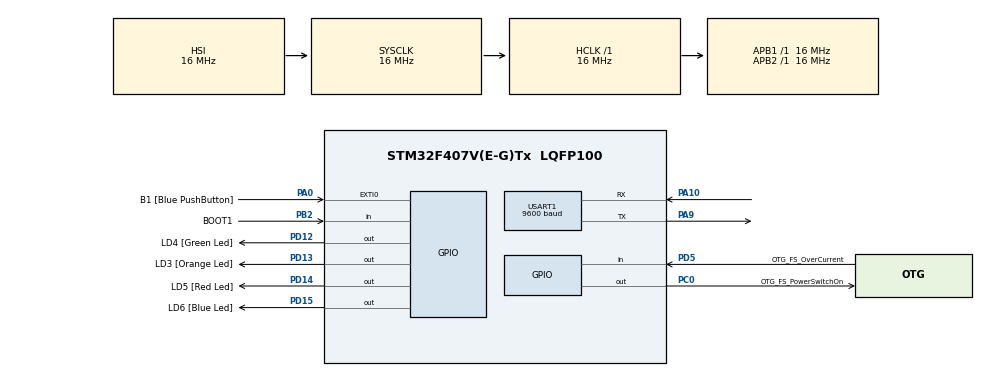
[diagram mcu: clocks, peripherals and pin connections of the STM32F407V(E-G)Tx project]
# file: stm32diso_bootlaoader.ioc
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Mcu.Family=STM32F4
Mcu.Name=STM32F407V(E-G)Tx
Mcu.Package=LQFP100
NVIC.EXTI0_IRQn=true\:0\:0\:false\:false\:true\:true
NVIC.PriorityGroup=NVIC_PRIORITYGROUP_0
NVIC.USART1_IRQn=true\:0\:0\:false\:false\:true\:true
PA0-WKUP.GPIO_Label=B1 [Blue PushButton]
PA0-WKUP.GPIO_ModeDefaultEXTI=GPIO_MODE_IT_FALLING
PA0-WKUP.GPIO_PuPd=GPIO_NOPULL
PA0-WKUP.Signal=GPXTI0
PA10.Mode=Asynchronous
PA10.Signal=USART1_RX
PA13.GPIO_Label=SWDIO
PA13.Mode=Serial_Wire
PA13.Signal=SYS_JTMS-SWDIO
PA14.GPIO_Label=SWCLK
PA14.Mode=Serial_Wire
PA14.Signal=SYS_JTCK-SWCLK
PA9.Mode=Asynchronous
PA9.Signal=USART1_TX
PB2.GPIO_Label=BOOT1
PB2.GPIO_Mode=GPIO_MODE_INPUT
PB2.GPIO_PuPd=GPIO_NOPULL
PB2.Signal=GPIO_Input
PC0.GPIO_Label=OTG_FS_PowerSwitchOn
PC0.GPIO_PuPd=GPIO_NOPULL
PC0.GPIO_Speed=GPIO_SPEED_FREQ_LOW
PC0.PinState=GPIO_PIN_SET
PC0.Signal=GPIO_Output
PD12.GPIO_Label=LD4 [Green Led]
PD12.GPIO_PuPd=GPIO_NOPULL
PD12.GPIO_Speed=GPIO_SPEED_FREQ_LOW
PD12.Signal=GPIO_Output
PD13.GPIO_Label=LD3 [Orange Led]
PD13.GPIO_PuPd=GPIO_NOPULL
PD13.GPIO_Speed=GPIO_SPEED_FREQ_LOW
PD13.Signal=GPIO_Output
PD14.GPIO_Label=LD5 [Red Led]
PD14.GPIO_PuPd=GPIO_NOPULL
PD14.GPIO_Speed=GPIO_SPEED_FREQ_LOW
PD14.Signal=GPIO_Output
PD15.GPIO_Label=LD6 [Blue Led]
PD15.GPIO_PuPd=GPIO_NOPULL
PD15.GPIO_Speed=GPIO_SPEED_FREQ_LOW
PD15.Signal=GPIO_Output
PD5.GPIO_Label=OTG_FS_OverCurrent
PD5.GPIO_Mode=GPIO_MODE_INPUT
PD5.GPIO_PuPd=GPIO_NOPULL
PD5.Signal=GPIO_Input
ProjectManager.HeapSize=0x200
ProjectManager.StackSize=0x400
ProjectManager.TargetToolchain=TrueSTUDIO
RCC.48MHZClocksFreq_Value=96000000
RCC.AHBFreq_Value=16000000
RCC.APB1Freq_Value=16000000
RCC.APB1TimFreq_Value=16000000
RCC.APB2Freq_Value=16000000
RCC.APB2TimFreq_Value=16000000
RCC.CortexFreq_Value=16000000
RCC.HCLKFreq_Value=16000000
RCC.HSE_VALUE=8000000
RCC.HSI_VALUE=16000000
RCC.LSE_VALUE=32768
RCC.PLLM=8
RCC.PLLN=336
RCC.PLLQ=7
RCC.SYSCLKFreq_VALUE=16000000
RCC.VCOOutputFreq_Value=672000000
USART1.BaudRate=9600
USART1.OverSampling=UART_OVERSAMPLING_8
USART1.VirtualMode=VM_ASYNC
VP_CRC_VS_CRC.Mode=CRC_Activate
board=STM32F4DISCOVERY

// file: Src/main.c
/**
  ******************************************************************************
  * @file           : main.c
  * @brief          : Main program body
  ******************************************************************************
  ** This notice applies to any and all portions of this file
  * that are not between comment pairs USER CODE BEGIN and
  * USER CODE END. Other portions of this file, whether
  * inserted by the user or by software development tools
  * are owned by their respective copyright owners.
  *
  * COPYRIGHT(c) 2018 STMicroelectronics
  *
  * Redistribution and use in source and binary forms, with or without modification,
  * are permitted provided that the following conditions are met:
  *   1. Redistributions of source code must retain the above copyright notice,
  *      this list of conditions and the following disclaimer.
  *   2. Redistributions in binary form must reproduce the above copyright notice,
  *      this list of conditions and the following disclaimer in the documentation
  *      and/or other materials provided with the distribution.
  *   3. Neither the name of STMicroelectronics nor the names of its contributors
  *      may be used to endorse or promote products derived from this software
  *      without specific prior written permission.
  *
  * THIS SOFTWARE IS PROVIDED BY THE COPYRIGHT HOLDERS AND CONTRIBUTORS "AS IS"
  * AND ANY EXPRESS OR IMPLIED WARRANTIES, INCLUDING, BUT NOT LIMITED TO, THE
  * IMPLIED WARRANTIES OF MERCHANTABILITY AND FITNESS FOR A PARTICULAR PURPOSE ARE
  * DISCLAIMED. IN NO EVENT SHALL THE COPYRIGHT HOLDER OR CONTRIBUTORS BE LIABLE
  * FOR ANY DIRECT, INDIRECT, INCIDENTAL, SPECIAL, EXEMPLARY, OR CONSEQUENTIAL
  * DAMAGES (INCLUDING, BUT NOT LIMITED TO, PROCUREMENT OF SUBSTITUTE GOODS OR
  * SERVICES; LOSS OF USE, DATA, OR PROFITS; OR BUSINESS INTERRUPTION) HOWEVER
  * CAUSED AND ON ANY THEORY OF LIABILITY, WHETHER IN CONTRACT, STRICT LIABILITY,
  * OR TORT (INCLUDING NEGLIGENCE OR OTHERWISE) ARISING IN ANY WAY OUT OF THE USE
  * OF THIS SOFTWARE, EVEN IF ADVISED OF THE POSSIBILITY OF SUCH DAMAGE.
  *
  ******************************************************************************
  */
#include "main.h"
#include "stm32f4xx_hal.h"

/* USER CODE BEGIN Includes */
#include "stm32f4xx_it.h"
#include "menu.h"
#include "common.h"

/* USER CODE END Includes */

CRC_HandleTypeDef hcrc;

UART_HandleTypeDef huart1;

/* USER CODE BEGIN PV */
/* Private variables ---------------------------------------------------------*/

/* USER CODE END PV */

void SystemClock_Config(void);
static void MX_GPIO_Init(void);
static void MX_USART1_UART_Init(void);
static void MX_CRC_Init(void);

/* USER CODE BEGIN PFP */
/* Private function prototypes -----------------------------------------------*/

/* USER CODE END PFP */

int main(void)
{

  /* MCU Configuration----------------------------------------------------------*/

  /* Reset of all peripherals, Initializes the Flash interface and the Systick. */
  HAL_Init();

  /* Configure the system clock */
  SystemClock_Config();

  /* Initialize all configured peripherals */
  MX_GPIO_Init();
  MX_USART1_UART_Init();
  MX_CRC_Init();
  /* USER CODE BEGIN 2 */
  __HAL_RCC_CRC_CLK_ENABLE();

  /* USER CODE END 2 */

  /* Infinite loop */
  while (1)
  {

  /* USER CODE BEGIN 3 */
	  HAL_GPIO_TogglePin(GPIOD, LD5_Pin);

	  int clicked = get_clicked();
	  if (clicked){
		  char buffer[]="Klikitud! ja kas töötab???\n, kordja on:";
		  uint8_t knumb[3];
		  Int2Str((uint8_t*)&knumb, get_kordaja());
		  //HAL_UART_Transmit_IT(&huart1, (uint8_t*)buffer, sizeof(buffer)-1 ,  HAL_MAX_DELAY);
		  while (HAL_UART_GetState(&huart1)!=HAL_UART_STATE_READY);
		  while(HAL_UART_Transmit_IT(&huart1, (uint8_t*)buffer, sizeof(buffer)-1 )== HAL_BUSY) ;
		  while (HAL_UART_GetState(&huart1)!=HAL_UART_STATE_READY);
		  HAL_UART_Transmit_IT(&huart1, (uint8_t*)&knumb, sizeof(knumb)-1 );

		  reset_clicked();

		  /* Display main menu */
		  Main_Menu();

	  }
	  int kordaja = get_kordaja();

	  HAL_Delay(10* kordaja);

  }
  /* USER CODE END 3 */

}

void SystemClock_Config(void)
{

  RCC_OscInitTypeDef RCC_OscInitStruct;
  RCC_ClkInitTypeDef RCC_ClkInitStruct;

    /**Configure the main internal regulator output voltage
    */
  __HAL_RCC_PWR_CLK_ENABLE();

  __HAL_PWR_VOLTAGESCALING_CONFIG(PWR_REGULATOR_VOLTAGE_SCALE1);

    /**Initializes the CPU, AHB and APB busses clocks
    */
  RCC_OscInitStruct.OscillatorType = RCC_OSCILLATORTYPE_HSI;
  RCC_OscInitStruct.HSIState = RCC_HSI_ON;
  RCC_OscInitStruct.HSICalibrationValue = 16;
  RCC_OscInitStruct.PLL.PLLState = RCC_PLL_NONE;
  if (HAL_RCC_OscConfig(&RCC_OscInitStruct) != HAL_OK)
  {
    _Error_Handler(__FILE__, __LINE__);
  }

    /**Initializes the CPU, AHB and APB busses clocks
    */
  RCC_ClkInitStruct.ClockType = RCC_CLOCKTYPE_HCLK|RCC_CLOCKTYPE_SYSCLK
                              |RCC_CLOCKTYPE_PCLK1|RCC_CLOCKTYPE_PCLK2;
  RCC_ClkInitStruct.SYSCLKSource = RCC_SYSCLKSOURCE_HSI;
  RCC_ClkInitStruct.AHBCLKDivider = RCC_SYSCLK_DIV1;
  RCC_ClkInitStruct.APB1CLKDivider = RCC_HCLK_DIV1;
  RCC_ClkInitStruct.APB2CLKDivider = RCC_HCLK_DIV1;

  if (HAL_RCC_ClockConfig(&RCC_ClkInitStruct, FLASH_LATENCY_0) != HAL_OK)
  {
    _Error_Handler(__FILE__, __LINE__);
  }

    /**Configure the Systick interrupt time
    */
  HAL_SYSTICK_Config(HAL_RCC_GetHCLKFreq()/1000);

    /**Configure the Systick
    */
  HAL_SYSTICK_CLKSourceConfig(SYSTICK_CLKSOURCE_HCLK);

  /* SysTick_IRQn interrupt configuration */
  HAL_NVIC_SetPriority(SysTick_IRQn, 0, 0);
}

/* CRC init function */
static void MX_CRC_Init(void)
{

  hcrc.Instance = CRC;
  if (HAL_CRC_Init(&hcrc) != HAL_OK)
  {
    _Error_Handler(__FILE__, __LINE__);
  }

}

/* USART1 init function */
static void MX_USART1_UART_Init(void)
{

  huart1.Instance = USART1;
  huart1.Init.BaudRate = 4800;
  huart1.Init.WordLength = UART_WORDLENGTH_8B;
  huart1.Init.StopBits = UART_STOPBITS_1;
  huart1.Init.Parity = UART_PARITY_NONE;
  huart1.Init.Mode = UART_MODE_TX_RX;
  huart1.Init.HwFlowCtl = UART_HWCONTROL_NONE;
  huart1.Init.OverSampling = UART_OVERSAMPLING_16;
  if (HAL_UART_Init(&huart1) != HAL_OK)
  {
    _Error_Handler(__FILE__, __LINE__);
  }

}

/** Configure pins as
        * Analog
        * Input
        * Output
        * EVENT_OUT
        * EXTI
*/
static void MX_GPIO_Init(void)
{

  GPIO_InitTypeDef GPIO_InitStruct;

  /* GPIO Ports Clock Enable */
  __HAL_RCC_GPIOC_CLK_ENABLE();
  __HAL_RCC_GPIOA_CLK_ENABLE();
  __HAL_RCC_GPIOB_CLK_ENABLE();
  __HAL_RCC_GPIOD_CLK_ENABLE();

  /*Configure GPIO pin Output Level */
  HAL_GPIO_WritePin(OTG_FS_PowerSwitchOn_GPIO_Port, OTG_FS_PowerSwitchOn_Pin, GPIO_PIN_SET);

  /*Configure GPIO pin Output Level */
  HAL_GPIO_WritePin(GPIOD, LD4_Pin|LD3_Pin|LD5_Pin|LD6_Pin, GPIO_PIN_RESET);

  /*Configure GPIO pin : OTG_FS_PowerSwitchOn_Pin */
  GPIO_InitStruct.Pin = OTG_FS_PowerSwitchOn_Pin;
  GPIO_InitStruct.Mode = GPIO_MODE_OUTPUT_PP;
  GPIO_InitStruct.Pull = GPIO_NOPULL;
  GPIO_InitStruct.Speed = GPIO_SPEED_FREQ_LOW;
  HAL_GPIO_Init(OTG_FS_PowerSwitchOn_GPIO_Port, &GPIO_InitStruct);

  /*Configure GPIO pin : B1_Pin */
  GPIO_InitStruct.Pin = B1_Pin;
  GPIO_InitStruct.Mode = GPIO_MODE_IT_FALLING;
  GPIO_InitStruct.Pull = GPIO_NOPULL;
  HAL_GPIO_Init(B1_GPIO_Port, &GPIO_InitStruct);

  /*Configure GPIO pin : BOOT1_Pin */
  GPIO_InitStruct.Pin = BOOT1_Pin;
  GPIO_InitStruct.Mode = GPIO_MODE_INPUT;
  GPIO_InitStruct.Pull = GPIO_NOPULL;
  HAL_GPIO_Init(BOOT1_GPIO_Port, &GPIO_InitStruct);

  /*Configure GPIO pins : LD4_Pin LD3_Pin LD5_Pin LD6_Pin */
  GPIO_InitStruct.Pin = LD4_Pin|LD3_Pin|LD5_Pin|LD6_Pin;
  GPIO_InitStruct.Mode = GPIO_MODE_OUTPUT_PP;
  GPIO_InitStruct.Pull = GPIO_NOPULL;
  GPIO_InitStruct.Speed = GPIO_SPEED_FREQ_LOW;
  HAL_GPIO_Init(GPIOD, &GPIO_InitStruct);

  /*Configure GPIO pin : OTG_FS_OverCurrent_Pin */
  GPIO_InitStruct.Pin = OTG_FS_OverCurrent_Pin;
  GPIO_InitStruct.Mode = GPIO_MODE_INPUT;
  GPIO_InitStruct.Pull = GPIO_NOPULL;
  HAL_GPIO_Init(OTG_FS_OverCurrent_GPIO_Port, &GPIO_InitStruct);

  /* EXTI interrupt init*/
  HAL_NVIC_SetPriority(EXTI0_IRQn, 0, 0);
  HAL_NVIC_EnableIRQ(EXTI0_IRQn);

}

void _Error_Handler(char *file, int line)
{
  while(1)
  {
  }
}

/************************ (C) COPYRIGHT STMicroelectronics *****END OF FILE****/
